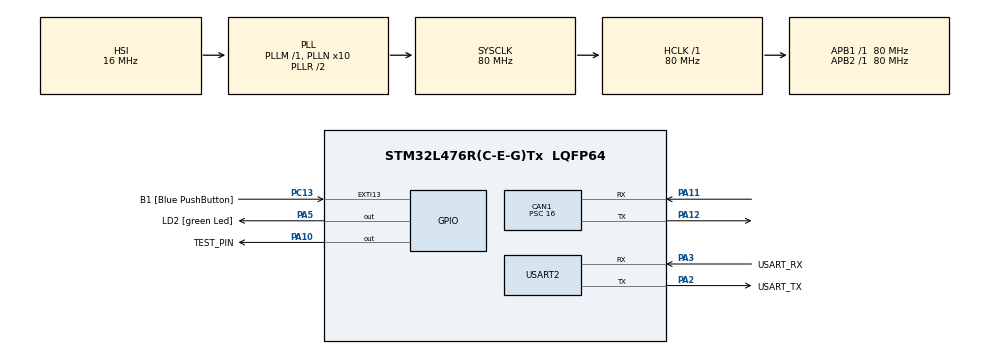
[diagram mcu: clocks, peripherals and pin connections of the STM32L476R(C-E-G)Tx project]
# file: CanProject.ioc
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CAN1.BS1=CAN_BS1_2TQ
CAN1.BS2=CAN_BS2_7TQ
CAN1.CalculateBaudRate=500000
CAN1.CalculateTimeBit=2000
CAN1.CalculateTimeQuantum=200.0
CAN1.Mode=CAN_MODE_LOOPBACK
CAN1.Prescaler=16
Mcu.Family=STM32L4
Mcu.Name=STM32L476R(C-E-G)Tx
Mcu.Package=LQFP64
NVIC.PriorityGroup=NVIC_PRIORITYGROUP_4
PA10.GPIO_Label=TEST_PIN
PA10.Signal=GPIO_Output
PA11.Mode=CAN_Activate
PA11.Signal=CAN1_RX
PA12.Mode=CAN_Activate
PA12.Signal=CAN1_TX
PA13\ (JTMS-SWDIO).GPIO_Label=TMS
PA13\ (JTMS-SWDIO).Mode=Serial_Wire
PA13\ (JTMS-SWDIO).Signal=SYS_JTMS-SWDIO
PA14\ (JTCK-SWCLK).GPIO_Label=TCK
PA14\ (JTCK-SWCLK).Mode=Serial_Wire
PA14\ (JTCK-SWCLK).Signal=SYS_JTCK-SWCLK
PA2.GPIO_Label=USART_TX
PA2.GPIO_Mode=GPIO_MODE_AF_PP
PA2.GPIO_PuPd=GPIO_NOPULL
PA2.GPIO_Speed=GPIO_SPEED_FREQ_VERY_HIGH
PA2.Mode=Asynchronous
PA2.Signal=USART2_TX
PA3.GPIO_Label=USART_RX
PA3.GPIO_Mode=GPIO_MODE_AF_PP
PA3.GPIO_PuPd=GPIO_NOPULL
PA3.GPIO_Speed=GPIO_SPEED_FREQ_VERY_HIGH
PA3.Mode=Asynchronous
PA3.Signal=USART2_RX
PA5.GPIO_Label=LD2 [green Led]
PA5.GPIO_ModeDefaultOutputPP=GPIO_MODE_OUTPUT_PP
PA5.GPIO_PuPd=GPIO_NOPULL
PA5.GPIO_Speed=GPIO_SPEED_FREQ_LOW
PA5.Signal=GPIO_Output
PB3\ (JTDO-TRACESWO).GPIO_Label=SWO
PB3\ (JTDO-TRACESWO).Signal=SYS_JTDO-SWO
PC13.GPIO_Label=B1 [Blue PushButton]
PC13.GPIO_ModeDefaultEXTI=GPIO_MODE_IT_FALLING
PC13.GPIO_PuPd=GPIO_NOPULL
PC13.Signal=GPXTI13
PC14-OSC32_IN\ (PC14).Mode=LSE-External-Oscillator
PC14-OSC32_IN\ (PC14).Signal=RCC_OSC32_IN
PC15-OSC32_OUT\ (PC15).Mode=LSE-External-Oscillator
PC15-OSC32_OUT\ (PC15).Signal=RCC_OSC32_OUT
PH0-OSC_IN\ (PH0).Signal=RCC_OSC_IN
PH1-OSC_OUT\ (PH1).Signal=RCC_OSC_OUT
ProjectManager.HeapSize=0x200
ProjectManager.StackSize=0x400
ProjectManager.TargetToolchain=Makefile
RCC.ADCFreq_Value=64000000
RCC.AHBFreq_Value=80000000
RCC.APB1Freq_Value=80000000
RCC.APB1TimFreq_Value=80000000
RCC.APB2Freq_Value=80000000
RCC.APB2TimFreq_Value=80000000
RCC.CortexFreq_Value=80000000
RCC.HCLKFreq_Value=80000000
RCC.HSE_VALUE=8000000
RCC.HSI_VALUE=16000000
RCC.MSI_VALUE=4000000
RCC.PLLN=10
RCC.PLLSourceVirtual=RCC_PLLSOURCE_HSI
RCC.PREFETCH_ENABLE=1
RCC.SYSCLKFreq_VALUE=80000000
RCC.SYSCLKSource=RCC_SYSCLKSOURCE_PLLCLK
RCC.USBFreq_Value=64000000
RCC.VCOOutputFreq_Value=160000000
USART2.VirtualMode-Asynchronous=VM_ASYNC
board=NUCLEO-L476RG

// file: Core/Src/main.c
/* USER CODE BEGIN Header */
/**
  ******************************************************************************
  * @file           : main.c
  * @brief          : Main program body
  ******************************************************************************
  * @attention
  *
  * Copyright (c) 2026 STMicroelectronics.
  * All rights reserved.
  *
  * This software is licensed under terms that can be found in the LICENSE file
  * in the root directory of this software component.
  * If no LICENSE file comes with this software, it is provided AS-IS.
  *
  ******************************************************************************
  */
/* USER CODE END Header */
#include "main.h"
#include "can.h"
#include "usart.h"
#include "gpio.h"

/* USER CODE BEGIN PV */
CAN_TxHeaderTypeDef messageHeader =
{
  .StdId = 0x11,
  .IDE = CAN_ID_STD,
  .RTR = CAN_RTR_DATA,
  .DLC = 0x02,
};

uint8_t inc = 0;
/* USER CODE END PV */

void SystemClock_Config(void);

int main(void)
{

  /* MCU Configuration--------------------------------------------------------*/

  /* Reset of all peripherals, Initializes the Flash interface and the Systick. */
  HAL_Init();

  /* Configure the system clock */
  SystemClock_Config();

  /* Initialize all configured peripherals */
  MX_GPIO_Init();
  MX_CAN1_Init();
  MX_USART2_UART_Init();
  /* USER CODE BEGIN 2 */

  CAN_FilterTypeDef filter;

    filter.FilterBank = 0;
    filter.FilterMode = CAN_FILTERMODE_IDMASK;
    filter.FilterScale = CAN_FILTERSCALE_32BIT;

    /* ID = 0 */
    filter.FilterIdHigh = 0x0000;
    filter.FilterIdLow  = 0x0000;

    /* MASK = 0 → accept all */
    filter.FilterMaskIdHigh = 0x0000;
    filter.FilterMaskIdLow  = 0x0000;

    filter.FilterFIFOAssignment = CAN_RX_FIFO0;
    filter.FilterActivation = ENABLE;

  HAL_CAN_ConfigFilter(&hcan1, &filter);
  HAL_CAN_Start(&hcan1);

  /* USER CODE END 2 */

  /* Infinite loop */
  while (1)
  {

    /* USER CODE BEGIN 3 */
    int przemo = 32323;
    char kupa = 'z';

    HAL_Delay(2000);
    inc++;
    uint8_t data[8];
    data[0] = 0x22;
    data[1] = inc;
    uint32_t myTxMailbox;

    HAL_CAN_AddTxMessage(&hcan1, &messageHeader, &data[0], &myTxMailbox);
    HAL_GPIO_TogglePin(TEST_PIN_GPIO_Port, TEST_PIN_Pin);
  }
  /* USER CODE END 3 */
}

void SystemClock_Config(void)
{
  RCC_OscInitTypeDef RCC_OscInitStruct = {0};
  RCC_ClkInitTypeDef RCC_ClkInitStruct = {0};

  /** Configure the main internal regulator output voltage
  */
  if (HAL_PWREx_ControlVoltageScaling(PWR_REGULATOR_VOLTAGE_SCALE1) != HAL_OK)
  {
    Error_Handler();
  }

  /** Initializes the RCC Oscillators according to the specified parameters
  * in the RCC_OscInitTypeDef structure.
  */
  RCC_OscInitStruct.OscillatorType = RCC_OSCILLATORTYPE_HSI;
  RCC_OscInitStruct.HSIState = RCC_HSI_ON;
  RCC_OscInitStruct.HSICalibrationValue = RCC_HSICALIBRATION_DEFAULT;
  RCC_OscInitStruct.PLL.PLLState = RCC_PLL_ON;
  RCC_OscInitStruct.PLL.PLLSource = RCC_PLLSOURCE_HSI;
  RCC_OscInitStruct.PLL.PLLM = 1;
  RCC_OscInitStruct.PLL.PLLN = 10;
  RCC_OscInitStruct.PLL.PLLP = RCC_PLLP_DIV7;
  RCC_OscInitStruct.PLL.PLLQ = RCC_PLLQ_DIV2;
  RCC_OscInitStruct.PLL.PLLR = RCC_PLLR_DIV2;
  if (HAL_RCC_OscConfig(&RCC_OscInitStruct) != HAL_OK)
  {
    Error_Handler();
  }

  /** Initializes the CPU, AHB and APB buses clocks
  */
  RCC_ClkInitStruct.ClockType = RCC_CLOCKTYPE_HCLK|RCC_CLOCKTYPE_SYSCLK
                              |RCC_CLOCKTYPE_PCLK1|RCC_CLOCKTYPE_PCLK2;
  RCC_ClkInitStruct.SYSCLKSource = RCC_SYSCLKSOURCE_PLLCLK;
  RCC_ClkInitStruct.AHBCLKDivider = RCC_SYSCLK_DIV1;
  RCC_ClkInitStruct.APB1CLKDivider = RCC_HCLK_DIV1;
  RCC_ClkInitStruct.APB2CLKDivider = RCC_HCLK_DIV1;

  if (HAL_RCC_ClockConfig(&RCC_ClkInitStruct, FLASH_LATENCY_4) != HAL_OK)
  {
    Error_Handler();
  }
}

void Error_Handler(void)
{
  __disable_irq();
  while (1)
  {
  }
}
